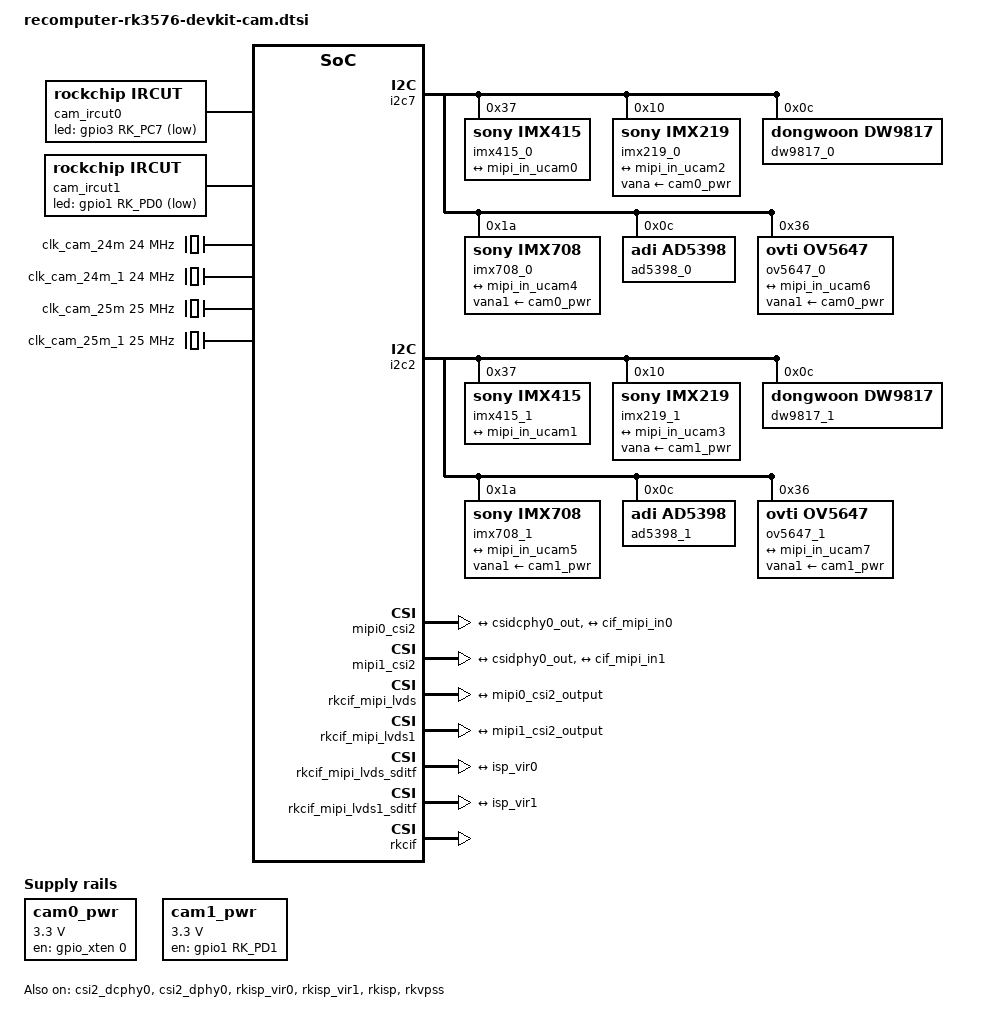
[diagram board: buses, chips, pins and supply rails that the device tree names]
// SPDX-License-Identifier: (GPL-2.0+ OR MIT)
/*
 * Copyright (c) 2024 Luckfox Technology Co., Ltd.
 *
 */

/ {
    cam_ircut0: cam_ircut0 {
        status = "okay";
        compatible = "rockchip,ircut";
        led-gpios = <&gpio3 RK_PC7 GPIO_ACTIVE_LOW>;
        // ircut-open-gpios = <&gpio4 RK_PC6 GPIO_ACTIVE_HIGH>;
        // ircut-close-gpios  = <&gpio4 RK_PC7 GPIO_ACTIVE_HIGH>;
        rockchip,camera-module-index = <0>;
        rockchip,camera-module-facing = "front";
    };

    cam_ircut1: cam_ircut1 {
        status = "okay";
        compatible = "rockchip,ircut";
        led-gpios = <&gpio1 RK_PD0 GPIO_ACTIVE_LOW>;
        // ircut-open-gpios = <&gpio4 RK_PC6 GPIO_ACTIVE_HIGH>;
        // ircut-close-gpios  = <&gpio4 RK_PC7 GPIO_ACTIVE_HIGH>;
        rockchip,camera-module-index = <1>;
        rockchip,camera-module-facing = "back";
    };

    cam0_pwr: cam0-pwr {
        compatible = "regulator-fixed";
        regulator-name = "cam0_pwr";
        regulator-min-microvolt = <3300000>;
        regulator-max-microvolt = <3300000>;
        enable-active-high;
        gpio = <&gpio_xten  0  GPIO_ACTIVE_HIGH>; 
        regulator-boot-on;         
        regulator-always-on;        
    };

    cam1_pwr: cam1-pwr {
        compatible = "regulator-fixed";
        regulator-name = "cam1_pwr";
        regulator-min-microvolt = <3300000>;
        regulator-max-microvolt = <3300000>;
        enable-active-high;
        gpio = <&gpio1  RK_PD1  GPIO_ACTIVE_HIGH>; 
        regulator-boot-on;         
        regulator-always-on;        
    };
    
    clk_cam_24m: external-camera-clock-24m {
        compatible = "fixed-clock";
        clock-frequency = <24000000>;
        clock-output-names = "clk_cam_24m";
        #clock-cells = <0>;
    };

    clk_cam_24m_1: external-camera-clock-24m-1 {
        compatible = "fixed-clock";
        clock-frequency = <24000000>;
        clock-output-names = "clk_cam_24m_1";
        #clock-cells = <0>;
    };

    clk_cam_25m: external-camera-clock-25m {
        compatible = "fixed-clock";
        clock-frequency = <25000000>;
        clock-output-names = "clk_cam_25m";
        #clock-cells = <0>;
    };

    clk_cam_25m_1: external-camera-clock-25m-1 {
        compatible = "fixed-clock";
        clock-frequency = <25000000>;
        clock-output-names = "clk_cam_25m_1";
        #clock-cells = <0>;
    };

};

// cam0: i2c7
&i2c7 {
	status = "okay";
	pinctrl-0 = <&i2c7m1_xfer>;

	imx415_0: imx415_0@37 {
		status = "okay";
		compatible = "sony,imx415";
		reg = <0x37>;
		clocks = <&cru CLK_MIPI_CAMERAOUT_M0>;
		clock-names = "xvclk";
		pinctrl-names = "default";
		// pinctrl-0 = <&cam0_reset_gpio>;
		power-domains = <&power RK3576_PD_VI>;
		// reset-gpios = <&gpio3 RK_PD7 GPIO_ACTIVE_LOW>;
		rockchip,camera-module-index = <0>;
		rockchip,camera-module-facing = "back";
		rockchip,camera-module-name = "CMK-OT2022-PX1";
		rockchip,camera-module-lens-name = "IR0147-50IRC-8M-F20";
		lens-focus = <&cam_ircut0>;
		port {
			imx415_out0: endpoint {
				remote-endpoint = <&mipi_in_ucam0>;
				data-lanes = <1 2 3 4>;
			};
		};
	};

    imx219_0: imx219@10 {
        compatible = "sony,imx219";
        reg = <0x10>;
        clocks = <&clk_cam_24m>;
        clock-names = "xvclk";
        vana-supply = <&cam0_pwr>;
        rockchip,camera-module-index = <0>;
        rockchip,camera-module-facing = "back";
        rockchip,camera-module-name = "rpi-camera-v2";
        rockchip,camera-module-lens-name = "default";

        port {
            imx219_out0: endpoint {
                remote-endpoint = <&mipi_in_ucam2>;
                data-lanes = <1 2>;					
            };
        };
    };


	dw9817_0: dw9817@c {
		compatible = "dongwoon,dw9817";
		status = "okay";
		reg = <0x0c>;
		rockchip,camera-module-index = <0>;
		rockchip,vcm-start-current = <10>;
		rockchip,vcm-rated-current = <85>;
		rockchip,vcm-step-mode = <5>;
		rockchip,camera-module-facing = "back";

	};

	imx708_0: imx708@1a {
		compatible = "sony,imx708";
		reg = <0x1a>;
		clocks = <&clk_cam_24m>;
		clock-names = "xclk";
		vana1-supply = <&cam0_pwr>;
		pinctrl-names = "default";

		// reset-gpios = <&gpio 35 GPIO_ACTIVE_LOW>;
		rockchip,camera-module-index = <0>;
		rockchip,camera-module-facing = "front";
		rockchip,camera-module-name = "rpi-camera-v3";
		rockchip,camera-module-lens-name = "default";
		lens-focus = <&dw9817_0>;
		port {
            imx708_out0: endpoint {
                remote-endpoint = <&mipi_in_ucam4>;
                data-lanes = <1 2>;
                link-frequencies = /bits/ 64 <450000000>;
            };
		};
	};

	/**************raspberry pi cam v1**************/
 	ad5398_0: ad5398@c {
		compatible = "adi,ad5398";
		status = "okay";
		reg = <0x0c>;
		rockchip,camera-module-index = <0>;
		rockchip,vcm-start-current = <10>;
		rockchip,vcm-rated-current = <85>;
		rockchip,vcm-step-mode = <5>;
		rockchip,camera-module-facing = "front";
	};

	ov5647_0: ov5647@36 {
		compatible = "ovti,ov5647";
		status = "okay";
		reg = <0x36>;
		clocks = <&clk_cam_25m>;
		vana1-supply = <&cam0_pwr>;
		// pwdn-gpios = <&gpio_xten  0  GPIO_ACTIVE_HIGH>; 

		clock-names = "xvclk";
		pinctrl-names = "default";
		rockchip,camera-module-index = <0>;
		rockchip,camera-module-facing = "front";
		rockchip,camera-module-name = "rpi-camera-v1p3";
		rockchip,camera-module-lens-name = "default";
		lens-focus = <&ad5398_0>;
		port {
			ov5647_out0: endpoint {
				remote-endpoint = <&mipi_in_ucam6>;
				data-lanes = <1 2>;
			};
		};
	};


};

// cam1: i2c2
&i2c2 {
	status = "okay";

	imx415_1: imx415_1@37 {
		compatible = "sony,imx415";
		reg = <0x37>;
		clocks = <&cru CLK_MIPI_CAMERAOUT_M1>;
		clock-names = "xvclk";
		pinctrl-names = "default";
		// pinctrl-0 = <&cam1_reset_gpio>;
		power-domains = <&power RK3576_PD_VI>;
        // reset-gpios = <&gpio3 RK_PC7 GPIO_ACTIVE_LOW>;
		rockchip,camera-module-index = <1>;
		rockchip,camera-module-facing = "front";
		rockchip,camera-module-name = "CMK-OT2022-PX1";
		rockchip,camera-module-lens-name = "IR0147-50IRC-8M-F20";
		lens-focus = <&cam_ircut1>;
		port {
			imx415_out1: endpoint {
				remote-endpoint = <&mipi_in_ucam1>;
				data-lanes = <1 2 3 4>;
			};
		};
	};

    imx219_1: imx219@10 {
        compatible = "sony,imx219";
        reg = <0x10>;

        clocks = <&clk_cam_24m_1>;
        clock-names = "xvclk";
        vana-supply = <&cam1_pwr>;
       	rockchip,camera-module-index = <1>;
        rockchip,camera-module-facing = "back";
        rockchip,camera-module-name = "rpi-camera-v2";
        rockchip,camera-module-lens-name = "default";

        port {
            imx219_out1: endpoint {
                remote-endpoint = <&mipi_in_ucam3>;
                data-lanes = <1 2>;					
            };
        };
    };

 /**************raspberry pi cam v3**************/
	dw9817_1: dw9817@c {
		compatible = "dongwoon,dw9817";
		status = "okay";
		reg = <0x0c>;
		rockchip,camera-module-index = <1>;
		rockchip,vcm-start-current = <10>;
		rockchip,vcm-rated-current = <85>;
		rockchip,vcm-step-mode = <5>;
		rockchip,camera-module-facing = "back";

	};

	imx708_1: imx708@1a {
		compatible = "sony,imx708";
		reg = <0x1a>;
		clocks = <&clk_cam_24m_1>;
		clock-names = "xclk";
		// reset-gpios = <&gpio 35 GPIO_ACTIVE_LOW>;
		vana1-supply = <&cam1_pwr>;
		pinctrl-names = "default";
		rockchip,camera-module-index = <1>;
		rockchip,camera-module-facing = "front";
		rockchip,camera-module-name = "rpi-camera-v3";
		rockchip,camera-module-lens-name = "default";
		lens-focus = <&dw9817_1>;
		port {
            imx708_out1: endpoint {
                remote-endpoint = <&mipi_in_ucam5>;
                data-lanes = <1 2>;
                link-frequencies = /bits/ 64 <450000000>;
				
            };
		};
	};

 /**************raspberry pi cam v1**************/
 	ad5398_1: ad5398@c {
		compatible = "adi,ad5398";
		status = "okay";
		reg = <0x0c>;
		rockchip,camera-module-index = <1>;
		rockchip,vcm-start-current = <10>;
		rockchip,vcm-rated-current = <85>;
		rockchip,vcm-step-mode = <5>;
		rockchip,camera-module-facing = "front";
	};

	ov5647_1: ov5647@36 {
		compatible = "ovti,ov5647";
		status = "okay";
		reg = <0x36>;
		clocks = <&clk_cam_25m_1>;
		vana1-supply = <&cam1_pwr>;
		// pwdn-gpios = <&gpio1  RK_PD1  GPIO_ACTIVE_HIGH>; 

		clock-names = "xvclk";
		pinctrl-names = "default";
		rockchip,camera-module-index = <1>;
		rockchip,camera-module-facing = "front";
		rockchip,camera-module-name = "rpi-camera-v1p3";
		rockchip,camera-module-lens-name = "default";
		lens-focus = <&ad5398_1>;
		port {
			ov5647_out1: endpoint {
				remote-endpoint = <&mipi_in_ucam7>;
				data-lanes = <1 2>;
			};
		};
	};

};

/*-----------------------------------------------------------------------*/

&csi2_dcphy0 {
	status = "okay";

	ports {
		#address-cells = <1>;
		#size-cells = <0>;
		port@0 {
			reg = <0>;
			#address-cells = <1>;
			#size-cells = <0>;

			mipi_in_ucam0: endpoint@1 {
				reg = <1>;
				remote-endpoint = <&imx415_out0>;
				data-lanes = <1 2 3 4>;
			};
			mipi_in_ucam2: endpoint@2 {
				reg = <2>;
				remote-endpoint = <&imx219_out0>;
				data-lanes = <1 2>;
			};

			mipi_in_ucam4: endpoint@3 {
				reg = <3>;
				remote-endpoint = <&imx708_out0>;
				data-lanes = <1 2>;
			};

			mipi_in_ucam6: endpoint@4 {
				reg = <4>;
				remote-endpoint = <&ov5647_out0>;
				data-lanes = <1 2>;
			};

		};
		port@1 {
			reg = <1>;
			#address-cells = <1>;
			#size-cells = <0>;

			csidcphy0_out: endpoint@0 {
				reg = <0>;
				remote-endpoint = <&mipi0_csi2_input>;
			};
		};
	};
};

&csi2_dphy0 {
	status = "okay";

	ports {
		#address-cells = <1>;
		#size-cells = <0>;
		port@0 {
			reg = <0>;
			#address-cells = <1>;
			#size-cells = <0>;

			mipi_in_ucam1: endpoint@1 {
				reg = <1>;
				remote-endpoint = <&imx415_out1>;
				data-lanes = <1 2 3 4>;
			};
			mipi_in_ucam3: endpoint@2 {
				reg = <2>;
				remote-endpoint = <&imx219_out1>;
				data-lanes = <1 2>;
			};
			mipi_in_ucam5: endpoint@3 {
				reg = <3>;
				remote-endpoint = <&imx708_out1>;
				data-lanes = <1 2>;
			};
			mipi_in_ucam7: endpoint@4 {
				reg = <4>;
				remote-endpoint = <&ov5647_out1>;
				data-lanes = <1 2>;
			};

		};
		port@1 {
			reg = <1>;
			#address-cells = <1>;
			#size-cells = <0>;

			csidphy0_out: endpoint@0 {
				reg = <0>;
				remote-endpoint = <&mipi1_csi2_input>;
			};
		};
	};
};

&csi2_dphy3 {
    status = "disabled";
};

/*-----------------------------------------------------------------------*/

&mipi0_csi2 {
	status = "okay";

	ports {
		#address-cells = <1>;
		#size-cells = <0>;

		port@0 {
			reg = <0>;
			#address-cells = <1>;
			#size-cells = <0>;

			mipi0_csi2_input: endpoint@1 {
				reg = <1>;
				remote-endpoint = <&csidcphy0_out>;
			};
		};

		port@1 {
			reg = <1>;
			#address-cells = <1>;
			#size-cells = <0>;

			mipi0_csi2_output: endpoint@0 {
				reg = <0>;
				remote-endpoint = <&cif_mipi_in0>;
			};
		};
	};
};

&mipi1_csi2 {
	status = "okay";

	ports {
		#address-cells = <1>;
		#size-cells = <0>;

		port@0 {
			reg = <0>;
			#address-cells = <1>;
			#size-cells = <0>;

			mipi1_csi2_input: endpoint@1 {
				reg = <1>;
				remote-endpoint = <&csidphy0_out>;
			};
		};

		port@1 {
			reg = <1>;
			#address-cells = <1>;
			#size-cells = <0>;

			mipi1_csi2_output: endpoint@0 {
				reg = <0>;
				remote-endpoint = <&cif_mipi_in1>;
			};
		};
	};
};

/*-----------------------------------------------------------------------*/

&rkcif_mipi_lvds {
	status = "okay";

	port {
		cif_mipi_in0: endpoint {
			remote-endpoint = <&mipi0_csi2_output>;
		};
	};
};

&rkcif_mipi_lvds1 {
	status = "okay";

	port {
		cif_mipi_in1: endpoint {
			remote-endpoint = <&mipi1_csi2_output>;
		};
	};
};

/*-----------------------------------------------------------------------*/

&rkcif_mipi_lvds_sditf {
	status = "okay";

	port {
		mipi_lvds_sditf: endpoint {
			remote-endpoint = <&isp_vir0>;
		};
	};
};

&rkcif_mipi_lvds1_sditf {
	status = "okay";

	port {
		mipi_lvds1_sditf: endpoint {
			remote-endpoint = <&isp_vir1>;
		};
	};
};

/*-----------------------------------------------------------------------*/

&rkisp_vir0 {
	status = "okay";

	port {
		#address-cells = <1>;
		#size-cells = <0>;

		isp_vir0: endpoint@0 {
			reg = <0>;
			remote-endpoint = <&mipi_lvds_sditf>;
		};
	};
};

&rkisp_vir1 {
	status = "okay";

	port {
		#address-cells = <1>;
		#size-cells = <0>;

		isp_vir1: endpoint@0 {
			reg = <0>;
			remote-endpoint = <&mipi_lvds1_sditf>;
		};
	};
};

/*-----------------------------------------------------------------------*/

&rkcif {
	status = "okay";
};

&rkcif_mmu {
	status = "okay";
};

&rkisp {
	status = "okay";
};

&rkisp_mmu {
	status = "okay";
};

&rkvpss {
	status = "okay";
};

&rkvpss_mmu {
	status = "okay";
};


// &rkisp_vir0_sditf {
// 	status = "okay";
// };

// &rkvpss_vir0 {
// 	status = "okay";
// };

// &rkisp_vir1_sditf {
//     status = "okay";
// };

// &rkvpss_vir1 {
//     status = "okay";
// };
/*-----------------------------------------------------------------------*/
